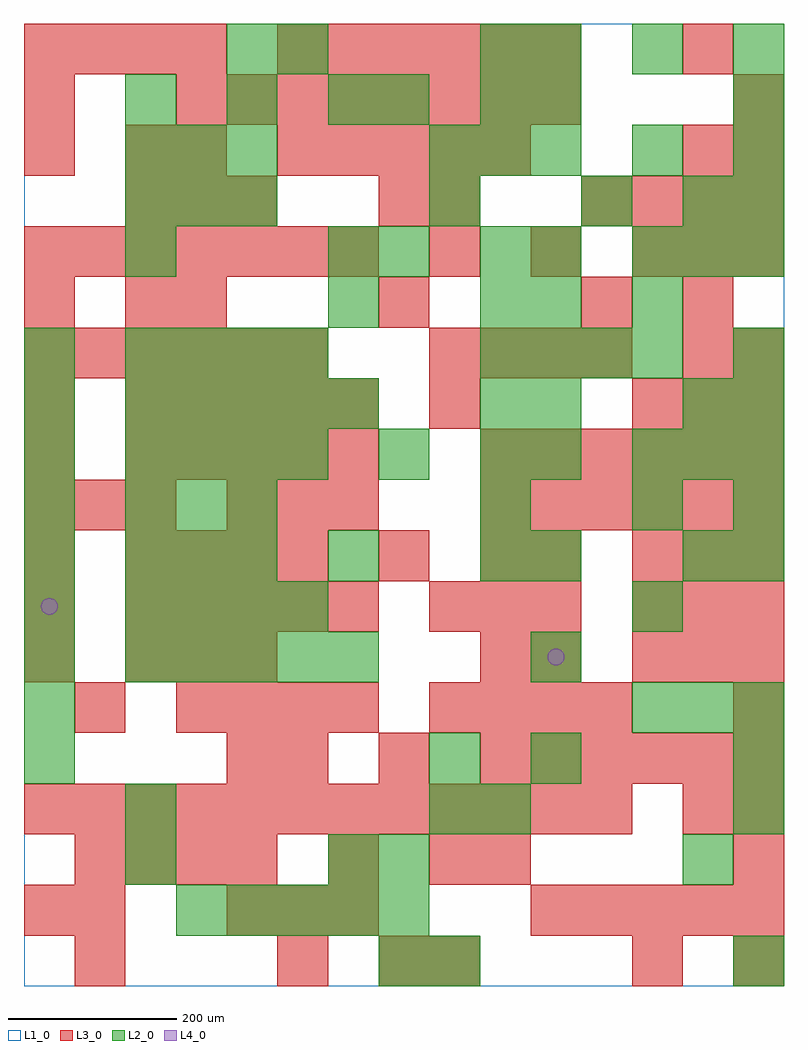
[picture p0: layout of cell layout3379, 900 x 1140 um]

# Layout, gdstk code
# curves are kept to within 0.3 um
import gdstk
lib = gdstk.Library(unit=1e-6, precision=1e-09)
def R(c, l, rs):  # rectangles x0, y0, x1, y1
    for r in rs: c.add(gdstk.rectangle(r[:2], r[2:], *l))
def A(c, l, x, y, w, h, nx, ny, dx, dy):  # array of equal rectangles
    R(c, l, [(x+i*dx, y+j*dy, x+i*dx+w, y+j*dy+h) for i in range(nx) for j in range(ny)])
def P(c, l, *ps):  # polygons
    for p in ps: c.add(gdstk.Polygon(p, *l))
L1_0 = (1, 0)
L2_0 = (2, 0)
L3_0 = (3, 0)
L4_0 = (4, 0)

layout3379 = lib.new_cell('layout3379')
R(layout3379, L1_0, [(0,0,900,1140)])
A(layout3379, L2_0, 180, 60, 60, 60, 5, 1, 60, 0)
A(layout3379, L2_0, 0, 240, 60, 60, 1, 9, 0, 60)
A(layout3379, L2_0, 600, 240, 60, 60, 1, 4, 0, 120)
A(layout3379, L2_0, 720, 300, 60, 60, 3, 2, 60, 300)
A(layout3379, L2_0, 120, 360, 60, 60, 5, 2, 60, 300)
A(layout3379, L2_0, 120, 420, 60, 60, 4, 2, 60, 180)
A(layout3379, L2_0, 120, 480, 60, 60, 3, 2, 60, 60)
A(layout3379, L2_0, 540, 480, 60, 60, 1, 4, 0, 60)
A(layout3379, L2_0, 120, 720, 60, 60, 4, 1, 60, 0)
A(layout3379, L2_0, 540, 720, 60, 60, 4, 1, 60, 0)
A(layout3379, L2_0, 720, 840, 60, 60, 3, 1, 60, 0)
A(layout3379, L2_0, 120, 900, 60, 60, 3, 2, 60, 60)
A(layout3379, L2_0, 840, 900, 60, 60, 1, 3, 0, 60)
A(layout3379, L2_0, 480, 960, 60, 60, 3, 1, 60, 0)
A(layout3379, L2_0, 120, 1020, 60, 60, 3, 1, 120, 0)
A(layout3379, L2_0, 600, 1080, 60, 60, 3, 1, 120, 0)
R(layout3379, L2_0, [(420,0,480,60), (480,0,540,60), (840,0,900,60), (120,120,180,180), (360,120,420,180), (420,120,480,180), (780,120,840,180), (120,180,180,240), (480,180,540,240), (540,180,600,240), (840,180,900,240), (480,240,540,300), (840,240,900,300), (720,420,780,480), (360,480,420,540), (780,480,840,540), (840,480,900,540), (720,540,780,600), (840,540,900,600), (420,600,480,660), (600,660,660,720), (780,660,840,720), (840,660,900,720), (840,720,900,780), (360,780,420,840), (540,780,600,840), (600,780,660,840), (720,780,780,840), (120,840,180,900), (360,840,420,900), (420,840,480,900), (540,840,600,900), (600,840,660,900), (480,900,540,960), (660,900,720,960), (780,900,840,960), (720,960,780,1020), (420,1020,480,1080), (540,1020,600,1080), (600,1020,660,1080), (240,1080,300,1140), (300,1080,360,1140), (540,1080,600,1140)])
A(layout3379, L3_0, 240, 60, 60, 60, 3, 2, 60, 480)
A(layout3379, L3_0, 600, 60, 60, 60, 5, 2, 60, 180)
A(layout3379, L3_0, 60, 120, 60, 60, 4, 1, 60, 0)
A(layout3379, L3_0, 0, 180, 60, 60, 12, 1, 60, 0)
A(layout3379, L3_0, 300, 240, 60, 60, 3, 1, 120, 0)
A(layout3379, L3_0, 180, 300, 60, 60, 4, 1, 60, 0)
A(layout3379, L3_0, 480, 300, 60, 60, 4, 2, 60, 420)
A(layout3379, L3_0, 0, 360, 60, 60, 1, 3, 0, 60)
A(layout3379, L3_0, 120, 360, 60, 60, 3, 2, 60, 540)
A(layout3379, L3_0, 720, 360, 60, 60, 3, 3, 60, 60)
A(layout3379, L3_0, 120, 420, 60, 60, 5, 2, 60, 180)
A(layout3379, L3_0, 480, 420, 60, 60, 3, 1, 60, 0)
A(layout3379, L3_0, 120, 480, 60, 60, 4, 1, 60, 0)
A(layout3379, L3_0, 0, 540, 60, 60, 3, 1, 60, 0)
A(layout3379, L3_0, 540, 540, 60, 60, 6, 2, 60, 60)
A(layout3379, L3_0, 120, 660, 60, 60, 5, 1, 60, 0)
A(layout3379, L3_0, 720, 660, 60, 60, 3, 1, 60, 0)
A(layout3379, L3_0, 0, 720, 60, 60, 6, 1, 60, 0)
A(layout3379, L3_0, 780, 720, 60, 60, 1, 3, 0, 60)
A(layout3379, L3_0, 840, 720, 60, 60, 1, 3, 0, 120)
A(layout3379, L3_0, 180, 780, 60, 60, 3, 1, 240, 0)
A(layout3379, L3_0, 0, 840, 60, 60, 7, 1, 60, 0)
A(layout3379, L3_0, 480, 840, 60, 60, 3, 1, 120, 0)
A(layout3379, L3_0, 660, 900, 60, 60, 4, 1, 60, 0)
A(layout3379, L3_0, 300, 960, 60, 60, 5, 1, 60, 0)
A(layout3379, L3_0, 180, 1020, 60, 60, 8, 1, 60, 0)
A(layout3379, L3_0, 0, 1080, 60, 60, 4, 1, 60, 0)
A(layout3379, L3_0, 300, 1080, 60, 60, 6, 1, 60, 0)
R(layout3379, L3_0, [(60,0,120,60), (300,0,360,60), (420,0,480,60), (480,0,540,60), (720,0,780,60), (840,0,900,60), (0,60,60,120), (60,60,120,120), (360,120,420,180), (480,120,540,180), (540,120,600,180), (840,120,900,180), (780,180,840,240), (840,180,900,240), (240,240,300,300), (60,300,120,360), (840,300,900,360), (540,360,600,420), (600,360,660,420), (420,480,480,540), (540,480,600,540), (600,480,660,540), (0,600,60,660), (0,660,60,720), (480,660,540,720), (0,780,60,840), (120,780,180,840), (420,900,480,960), (480,900,540,960), (0,960,60,1020), (120,960,180,1020), (180,960,240,1020), (780,960,840,1020), (0,1020,60,1080), (840,1020,900,1080), (780,1080,840,1140)])
P(layout3379, L4_0, [(40,450),(39.239,453.827),(37.071,457.071),(33.827,459.239),(30,460),(26.173,459.239),(22.929,457.071),(20.761,453.827),(20,450),(20.761,446.173),(22.929,442.929),(26.173,440.761),(30,440),(33.827,440.761),(37.071,442.929),(39.239,446.173)],
  [(640,390),(639.239,393.827),(637.071,397.071),(633.827,399.239),(630,400),(626.173,399.239),(622.929,397.071),(620.761,393.827),(620,390),(620.761,386.173),(622.929,382.929),(626.173,380.761),(630,380),(633.827,380.761),(637.071,382.929),(639.239,386.173)])

lib.write_gds('layout3379.gds')
